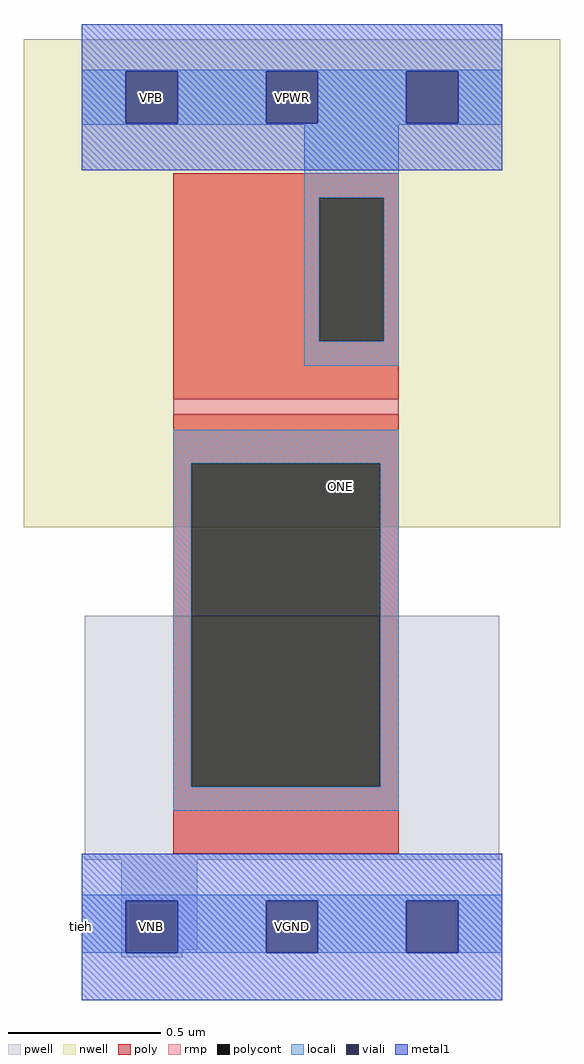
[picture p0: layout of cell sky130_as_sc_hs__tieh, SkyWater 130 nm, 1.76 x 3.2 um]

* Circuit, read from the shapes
.subckt sky130_as_sc_hs__tieh VNB VPB VGND VPWR ONE
R1 VPWR ONE sky130_fd_pr__res_generic_po w=0.74 l=0.05
.ends

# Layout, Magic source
magic
tech sky130A
magscale 1 2
<< nwell >>
rect -38 262 314 582
<< pwell >>
rect 2 44 274 204
rect 26 -15 76 44
rect 26 -20 66 -15
<< poly >>
rect 60 478 208 494
rect 60 384 156 478
rect 198 384 208 478
rect 60 346 208 384
rect 60 304 208 336
rect 60 92 72 304
rect 196 92 208 304
rect 60 48 208 92
<< polycont >>
rect 156 384 198 478
rect 72 92 196 304
<< rmp >>
rect 60 336 208 346
<< locali >>
rect 0 561 276 562
rect 0 527 29 561
rect 63 527 121 561
rect 155 527 213 561
rect 247 527 276 561
rect 0 526 276 527
rect 146 478 208 526
rect 146 384 156 478
rect 198 384 208 478
rect 146 368 208 384
rect 60 304 208 326
rect 60 92 72 304
rect 196 92 208 304
rect 60 76 208 92
rect 0 17 276 21
rect 0 -17 29 17
rect 63 -17 121 17
rect 155 -17 213 17
rect 247 -17 276 17
<< viali >>
rect 29 527 63 561
rect 121 527 155 561
rect 213 527 247 561
rect 29 -17 63 17
rect 121 -17 155 17
rect 213 -17 247 17
<< metal1 >>
rect 0 561 276 592
rect 0 527 29 561
rect 63 527 121 561
rect 155 527 213 561
rect 247 527 276 561
rect 0 496 276 527
rect 0 17 276 48
rect 0 -17 29 17
rect 63 -17 121 17
rect 155 -17 213 17
rect 247 -17 276 17
rect 0 -48 276 -17
<< labels >>
rlabel comment s 0 0 0 0 4 tieh
flabel pwell s 29 -17 63 17 0 FreeSans 200 0 0 0 VNB
port 1 nsew ground bidirectional
flabel pwell s 46 0 46 0 0 FreeSans 200 0 0 0 VNB
flabel nwell s 29 527 63 561 0 FreeSans 200 0 0 0 VPB
port 2 nsew power bidirectional
flabel nwell s 46 544 46 544 0 FreeSans 200 0 0 0 VPB
flabel metal1 s 29 527 63 561 0 FreeSans 200 0 0 0 VPWR
port 4 nsew power bidirectional abutment
rlabel metal1 s 0 496 276 592 1 VPWR
port 4 nsew power bidirectional abutment
rlabel metal1 s 0 -48 276 48 1 VGND
port 3 nsew ground bidirectional abutment
flabel metal1 s 29 -17 63 17 0 FreeSans 200 0 0 0 VGND
port 3 nsew ground bidirectional abutment
flabel locali s 153 272 187 306 0 FreeSans 200 0 0 0 ONE
port 5 nsew signal output
flabel locali s 170 289 170 289 0 FreeSans 200 0 0 0 ONE
<< properties >>
string FIXED_BBOX 0 0 276 544
string GDS_FILE $PDKPATH/libs.ref/sky130_as_sc_hs/gds/sky130_as_sc_hs__tieh.gds
string LEFclass CORE
string LEFsite unithd
string LEFsymmetry X Y R90
string MASKHINTS_LVTN 0 -4 276 227
string MASKHINTS_NSDM 0 -38 276 203
string MASKHINTS_PSDM 0 272 276 582
<< end >>
